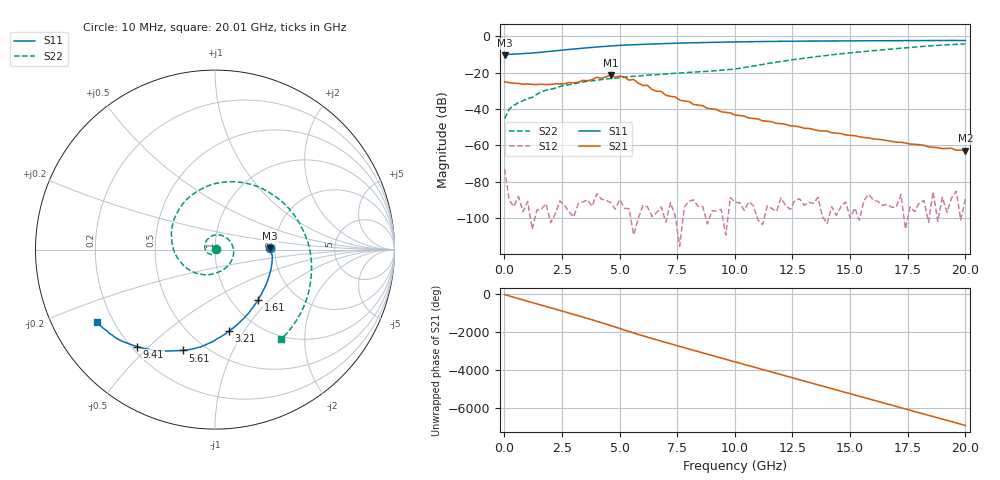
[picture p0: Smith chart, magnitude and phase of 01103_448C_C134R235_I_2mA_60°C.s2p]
!;Filter: kein Filter
!auto
!3/21/2019 9:26:52 AM
!3/21/2019 9:27:07 AM
!SP-Measurements Prober G4
!SP-Measurements Prober G4
!01103_448C
!134
!235
!12
!60
!-20
!0.00199954
!1.75
!0.22129449
!0.22129449
# Hz S  RI  R 50
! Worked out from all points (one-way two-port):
!   101 points, 10 MHz to 20.01 GHz, reference 50 ohm
!   highest |S21| = -21.19 dB at 4.61 GHz (marker M1); lowest = -62.8 dB at 20.01 GHz (marker M2)
!   lowest |S11| = -10.3 dB at 10 MHz (marker M3), VSWR 1.87, Z = 93.6 + j1.7 ohm
!   |S11| at or under -10 dB: start of sweep to 152.1 MHz
!   |S22| runs from -45.2 to -4.1 dB; largest |S21 - S12| = 0.087
!   S11 on the Smith chart (normalised r, x): 10 MHz: 1.87, +0.03; 1.61 GHz: 1.32, -0.85; 3.21 GHz: 0.74, -0.86; 5.61 GHz: 0.38, -0.66; 9.41 GHz: 0.22, -0.46; 20.01 GHz: 0.14, -0.28
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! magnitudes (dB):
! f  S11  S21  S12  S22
! 10 MHz  -10.3  -25.0  -73.0  -45.2
! 210 MHz  -9.9  -25.5  -90.0  -40.0
! 1.61 GHz  -8.7  -26.3  -95.0  -30.4
! 3.21 GHz  -6.7  -25.2  -92.0  -25.6
! 3.41 GHz  -6.5  -24.2  -91.0  -25.1
! 4.61 GHz  -5.2  -21.2  -91.3  -23.2
! 4.81 GHz  -5.1  -22.5  -95.0  -23.0
! 5.21 GHz  -4.8  -22.4  -94.5  -22.4
! 5.41 GHz  -4.7  -24.0  -94.8  -22.1
! 5.61 GHz  -4.6  -23.7  -109.1  -21.9
! 6.01 GHz  -4.4  -27.0  -93.1  -21.6
! 6.21 GHz  -4.3  -27.0  -93.8  -21.3
! 6.41 GHz  -4.2  -29.2  -99.1  -21.1
! 6.81 GHz  -4.0  -30.3  -93.9  -20.9
! 7.01 GHz  -3.9  -32.4  -102.2  -20.7
! 7.41 GHz  -3.8  -33.3  -98.6  -20.3
! 7.61 GHz  -3.7  -35.1  -115.4  -20.2
! 9.41 GHz  -3.2  -41.5  -95.2  -18.6
! 10.01 GHz  -3.1  -43.3  -91.3  -17.9
! 13.41 GHz  -2.6  -51.2  -91.9  -11.3
! 16.81 GHz  -2.4  -57.8  -94.0  -7.0
! 20.01 GHz  -2.3  -62.8  -89.4  -4.1
